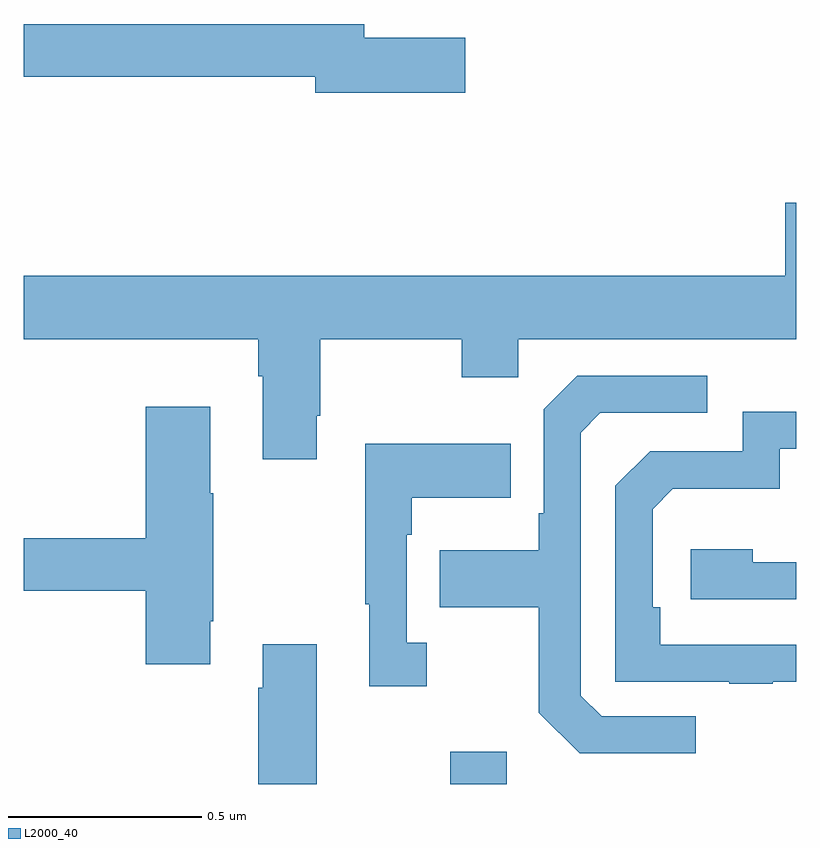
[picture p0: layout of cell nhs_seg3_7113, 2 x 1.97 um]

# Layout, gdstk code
import gdstk
lib = gdstk.Library(unit=1e-6, precision=1e-09)
def R(c, l, rs):  # rectangles x0, y0, x1, y1
    for r in rs: c.add(gdstk.rectangle(r[:2], r[2:], *l))
def P(c, l, *ps):  # polygons
    for p in ps: c.add(gdstk.Polygon(p, *l))
L2000_40 = (2000, 40)

nhs_seg3_7113 = lib.new_cell('nhs_seg3_7113')
R(nhs_seg3_7113, L2000_40, [(200.104,730.4,200.251,730.483)])
P(nhs_seg3_7113, L2000_40, [(200.143,732.332),(199.882,732.332),(199.882,732.368),(199,732.368),(199,732.232),(199.754,732.232),(199.754,732.19),(200.143,732.19)],
  [(199.759,731.353),(199.767,731.353),(199.767,731.552),(200.134,731.552),(200.134,731.453),(200.28,731.453),(200.28,731.552),(201,731.552),(201,731.905),(200.972,731.905),(200.972,731.716),(199,731.716),(199,731.552),(199.607,731.552),(199.607,731.456),(199.619,731.456),(199.619,731.241),(199.759,731.241)],
  [(200.74,730.575),(200.496,730.575),(200.442,730.629),(200.442,731.31),(200.493,731.361),(200.77,731.361),(200.77,731.457),(200.433,731.457),(200.346,731.37),(200.346,731.101),(200.334,731.101),(200.334,731.005),(200.077,731.005),(200.077,730.858),(200.334,730.858),(200.334,730.585),(200.439,730.479),(200.74,730.479)],
  [(199.483,730.822),(199.491,730.822),(199.491,731.153),(199.483,731.153),(199.483,731.377),(199.316,731.377),(199.316,731.036),(199,731.036),(199,730.9),(199.316,730.9),(199.316,730.71),(199.483,730.71)],
  [(200.939,730.665),(201,730.665),(201,730.761),(200.648,730.761),(200.648,730.858),(200.628,730.858),(200.628,731.112),(200.681,731.165),(200.958,731.165),(200.958,731.268),(201,731.268),(201,731.364),(200.862,731.364),(200.862,731.262),(200.622,731.262),(200.532,731.172),(200.532,730.665),(200.827,730.665),(200.827,730.66),(200.939,730.66)],
  [(200.044,730.766),(199.992,730.766),(199.992,731.045),(200.005,731.045),(200.005,731.141),(200.261,731.141),(200.261,731.281),(199.884,731.281),(199.884,730.865),(199.895,730.865),(199.895,730.653),(200.044,730.653)],
  [(201,730.974),(200.888,730.974),(200.888,731.008),(200.727,731.008),(200.727,730.878),(201,730.878)],
  [(199.759,730.762),(199.619,730.762),(199.619,730.649),(199.607,730.649),(199.607,730.4),(199.759,730.4)])

lib.write_gds('nhs_seg3_7113.gds')
